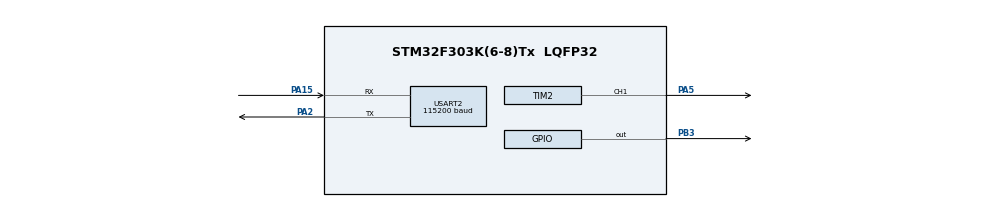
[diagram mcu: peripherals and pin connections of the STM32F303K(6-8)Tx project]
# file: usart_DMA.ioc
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Dma.Request0=USART2_RX
Dma.Request1=USART2_TX
Dma.USART2_RX.0.Direction=DMA_PERIPH_TO_MEMORY
Dma.USART2_RX.0.Instance=DMA1_Channel6
Dma.USART2_RX.0.MemDataAlignment=DMA_MDATAALIGN_BYTE
Dma.USART2_RX.0.MemInc=DMA_MINC_ENABLE
Dma.USART2_RX.0.Mode=DMA_CIRCULAR
Dma.USART2_RX.0.PeriphDataAlignment=DMA_PDATAALIGN_BYTE
Dma.USART2_RX.0.PeriphInc=DMA_PINC_DISABLE
Dma.USART2_RX.0.Priority=DMA_PRIORITY_MEDIUM
Dma.USART2_TX.1.Direction=DMA_MEMORY_TO_PERIPH
Dma.USART2_TX.1.Instance=DMA1_Channel7
Dma.USART2_TX.1.MemDataAlignment=DMA_MDATAALIGN_BYTE
Dma.USART2_TX.1.MemInc=DMA_MINC_ENABLE
Dma.USART2_TX.1.Mode=DMA_NORMAL
Dma.USART2_TX.1.PeriphDataAlignment=DMA_PDATAALIGN_BYTE
Dma.USART2_TX.1.PeriphInc=DMA_PINC_DISABLE
Dma.USART2_TX.1.Priority=DMA_PRIORITY_MEDIUM
Mcu.Family=STM32F3
Mcu.Name=STM32F303K(6-8)Tx
Mcu.Package=LQFP32
NVIC.DMA1_Channel6_IRQn=true\:0\:0\:false\:false\:true\:false\:true
NVIC.DMA1_Channel7_IRQn=true\:0\:0\:false\:false\:true\:false\:true
NVIC.PriorityGroup=NVIC_PRIORITYGROUP_4
NVIC.TIM2_IRQn=true\:0\:0\:false\:false\:true\:true\:true
PA15.Mode=Asynchronous
PA15.Signal=USART2_RX
PA2.Mode=Asynchronous
PA2.Signal=USART2_TX
PA5.Signal=S_TIM2_CH1_ETR
PB3.Signal=GPIO_Output
ProjectManager.HeapSize=0x200
ProjectManager.StackSize=0x400
ProjectManager.TargetToolchain=STM32CubeIDE
RCC.AHBFreq_Value=8000000
RCC.APB1Freq_Value=8000000
RCC.APB2Freq_Value=8000000
RCC.CortexFreq_Value=8000000
RCC.HSE_VALUE=8000000
RCC.HSI_VALUE=8000000
RCC.SYSCLKFreq_VALUE=8000000
SH.S_TIM2_CH1_ETR.0=TIM2_CH1,PWM Generation1 CH1
TIM2.Channel-PWM\ Generation1\ CH1=TIM_CHANNEL_1
TIM2.Period=99
TIM2.Prescaler=799
USART2.BaudRate=115200
USART2.VirtualMode-Asynchronous=VM_ASYNC
VP_TIM2_VS_ClockSourceINT.Mode=Internal
board=custom

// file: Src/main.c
/* USER CODE BEGIN Header */
/**
  ******************************************************************************
  * @file           : main.c
  * @brief          : Main program body
  ******************************************************************************
  * @attention
  *
  * <h2><center>&copy; Copyright (c) 2019 STMicroelectronics.
  * All rights reserved.</center></h2>
  *
  * This software component is licensed by ST under BSD 3-Clause license,
  * the "License"; You may not use this file except in compliance with the
  * License. You may obtain a copy of the License at:
  *                        opensource.org/licenses/BSD-3-Clause
  *
  ******************************************************************************
  */
/* USER CODE END Header */

#include "main.h"
#include "dma.h"
#include "tim.h"
#include "usart.h"
#include "gpio.h"

/* USER CODE BEGIN Includes */
#include <stdio.h>
#include <stdlib.h>
#include <string.h>

/* USER CODE END Includes */

void SystemClock_Config(void);

/* USER CODE BEGIN 0 */
mode inputMode;

void proccesDmaData(uint8_t sign);
char compare(char *string1, char *string2, int length);
char buffer[10];
uint8_t newdutyCycle=0;
uint8_t pwmConfiguration=0;

/* USER CODE END 0 */

int main(void)
{

  /* MCU Configuration--------------------------------------------------------*/

  /* Reset of all peripherals, Initializes the Flash interface and the Systick. */

  LL_APB2_GRP1_EnableClock(LL_APB2_GRP1_PERIPH_SYSCFG);
  LL_APB1_GRP1_EnableClock(LL_APB1_GRP1_PERIPH_PWR);

  NVIC_SetPriorityGrouping(NVIC_PRIORITYGROUP_4);

  /* System interrupt init*/

  /* Configure the system clock */
  SystemClock_Config();

  /* Initialize all configured peripherals */
  MX_GPIO_Init();
  MX_DMA_Init();
  MX_TIM2_Init();
  MX_USART2_UART_Init();
  /* USER CODE BEGIN 2 */

  LL_TIM_CC_EnableChannel(TIM2, LL_TIM_CHANNEL_CH1);
  LL_TIM_EnableIT_UPDATE(TIM2);
  LL_TIM_EnableCounter(TIM2);
  USART2_RegisterCallback(proccesDmaData);

  /* USER CODE END 2 */

  /* Infinite loop */
  while (1)
  {

  }
}

void SystemClock_Config(void)
{
  LL_FLASH_SetLatency(LL_FLASH_LATENCY_0);

  if(LL_FLASH_GetLatency() != LL_FLASH_LATENCY_0)
  {
  Error_Handler();
  }
  LL_RCC_HSI_Enable();

   /* Wait till HSI is ready */
  while(LL_RCC_HSI_IsReady() != 1)
  {

  }
  LL_RCC_HSI_SetCalibTrimming(16);
  LL_RCC_SetAHBPrescaler(LL_RCC_SYSCLK_DIV_1);
  LL_RCC_SetAPB1Prescaler(LL_RCC_APB1_DIV_1);
  LL_RCC_SetAPB2Prescaler(LL_RCC_APB1_DIV_1);
  LL_RCC_SetSysClkSource(LL_RCC_SYS_CLKSOURCE_HSI);

   /* Wait till System clock is ready */
  while(LL_RCC_GetSysClkSource() != LL_RCC_SYS_CLKSOURCE_STATUS_HSI)
  {

  }
  LL_Init1msTick(8000000);
  LL_SYSTICK_SetClkSource(LL_SYSTICK_CLKSOURCE_HCLK);
  LL_SetSystemCoreClock(8000000);
}

/* USER CODE BEGIN 4 */
/*
 * Implementation of function processing data received via USART.
 */
void proccesDmaData(uint8_t sign)
{
	/* Process received data */

		// type your algorithm here:
	static uint8_t count = 0;
	static uint8_t i = 0;

		if (sign=='$'&&count == 0){
			count=1;
		}
		if(count>=1&&sign!='$'){
			buffer[i]=sign;
			i=i+1;
			count=count+1;
		}
		if(count>1&&sign=='$'){

			if(compare(buffer, "auto", 4)){
				inputMode=AUTO;
				pwmConfiguration=0;
			}
			if(compare(buffer, "manual", 6)){
				inputMode=MANUAL;
			}

			if(compare(buffer, "PWM", 3)){
				if ('0' <= buffer[3] && buffer[3] <= '9' && '0' <= buffer[4] && buffer[4]<= '9'){
					pwmConfiguration=1;
					newdutyCycle=10*(buffer[3]-'0') + (buffer[4]-'0');
				}
			}
			count=0;
			i=0;
		}
}
/* USER CODE END 4 */

char compare(char *string1, char *string2, int length)
{
	for(int j = 0; j < length; j++)
	{
		if(string1[j] != string2[j]){
			return 0;
		}
	}

	return 1;
}

void Error_Handler(void)
{
}

/************************ (C) COPYRIGHT STMicroelectronics *****END OF FILE****/
